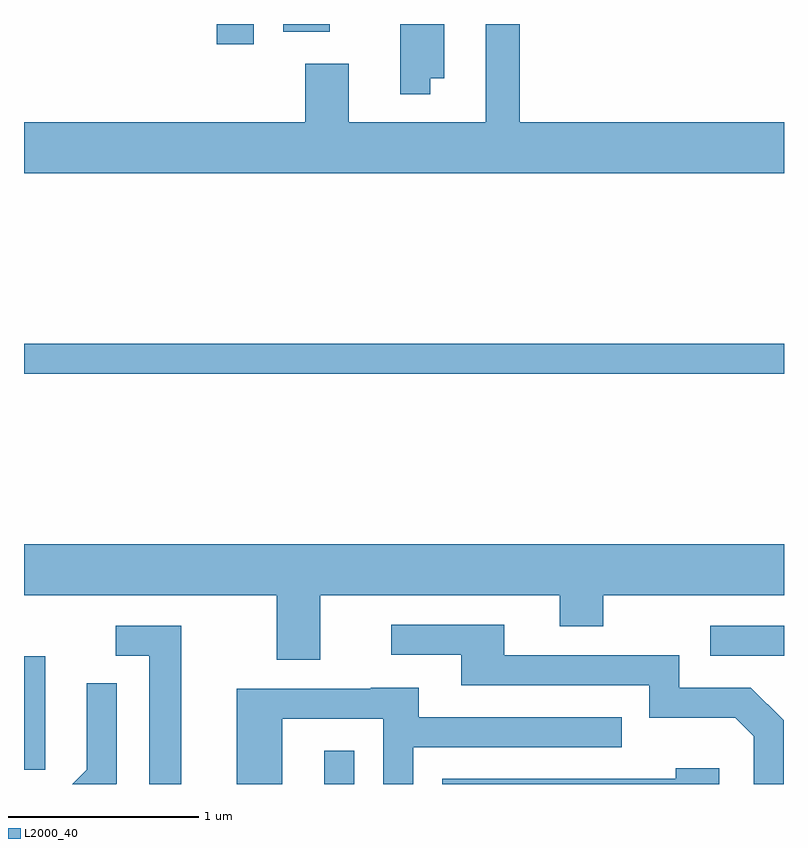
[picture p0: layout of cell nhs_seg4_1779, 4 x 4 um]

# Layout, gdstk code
import gdstk
lib = gdstk.Library(unit=1e-6, precision=1e-09)
def R(c, l, rs):  # rectangles x0, y0, x1, y1
    for r in rs: c.add(gdstk.rectangle(r[:2], r[2:], *l))
def P(c, l, *ps):  # polygons
    for p in ps: c.add(gdstk.Polygon(p, *l))
L2000_40 = (2000, 40)

nhs_seg4_1779 = lib.new_cell('nhs_seg4_1779')
R(nhs_seg4_1779, L2000_40, [(239.191,1275.982,239.349,1276.158), (237.611,1276.056,237.724,1276.654), (241.223,1276.656,241.611,1276.814), (237.611,1278.141,241.611,1278.299), (238.626,1279.876,238.819,1279.982), (238.976,1279.941,239.219,1279.982)])
P(nhs_seg4_1779, L2000_40, [(241.611,1279.464),(240.219,1279.464),(240.219,1279.982),(240.041,1279.982),(240.041,1279.464),(239.319,1279.464),(239.319,1279.774),(239.091,1279.774),(239.091,1279.464),(237.611,1279.464),(237.611,1279.196),(241.611,1279.196)],
  [(239.749,1279.696),(239.824,1279.696),(239.824,1279.982),(239.591,1279.982),(239.591,1279.613),(239.749,1279.613)],
  [(239.169,1276.976),(240.431,1276.976),(240.431,1276.811),(240.659,1276.811),(240.659,1276.976),(241.611,1276.976),(241.611,1277.244),(237.611,1277.244),(237.611,1276.976),(238.941,1276.976),(238.941,1276.636),(239.169,1276.636)],
  [(241.609,1276.317),(241.437,1276.489),(241.059,1276.489),(241.059,1276.659),(240.139,1276.659),(240.139,1276.819),(239.543,1276.819),(239.543,1276.661),(239.911,1276.661),(239.911,1276.501),(240.901,1276.501),(240.901,1276.331),(241.354,1276.331),(241.451,1276.234),(241.451,1275.982),(241.609,1275.982)],
  [(238.439,1276.814),(238.093,1276.814),(238.093,1276.656),(238.271,1276.656),(238.271,1275.982),(238.439,1275.982)],
  [(238.099,1275.984),(238.099,1276.513),(237.941,1276.513),(237.941,1276.057),(237.866,1275.982),(238.097,1275.982)],
  [(238.969,1276.326),(239.501,1276.326),(239.501,1275.982),(239.659,1275.982),(239.659,1276.176),(240.758,1276.176),(240.758,1276.334),(239.689,1276.334),(239.689,1276.489),(239.435,1276.489),(239.435,1276.484),(238.731,1276.484),(238.731,1275.982),(238.969,1275.982)],
  [(241.269,1276.064),(241.041,1276.064),(241.041,1276.009),(239.811,1276.009),(239.811,1275.982),(241.269,1275.982)])

lib.write_gds('nhs_seg4_1779.gds')
